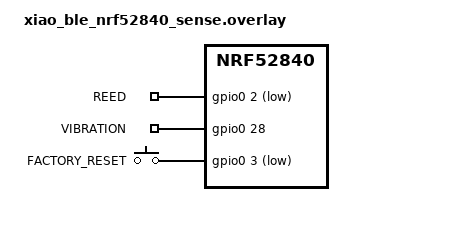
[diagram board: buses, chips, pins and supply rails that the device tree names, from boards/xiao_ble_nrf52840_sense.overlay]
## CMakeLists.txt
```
cmake_minimum_required(VERSION 3.20.0)
find_package(Zephyr REQUIRED HINTS $ENV{ZEPHYR_BASE})
project(glazia_sensor_nrf)

target_sources(app PRIVATE
    src/main.c
    src/sensors.c
    src/event_tx.c
    src/thread_join.c
    src/led_indicator.c
    src/factory_reset.c
)
```

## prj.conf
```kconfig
# === Networking ===
CONFIG_NETWORKING=y
CONFIG_NET_IPV6=y
CONFIG_NET_UDP=y
CONFIG_NET_SOCKETS=y
CONFIG_NET_SOCKETS_POSIX_NAMES=n
CONFIG_NET_IF_UNICAST_IPV6_ADDR_COUNT=3
CONFIG_NET_IF_MCAST_IPV6_ADDR_COUNT=4

# === OpenThread MTD (Minimal Thread Device — Sleepy End Device) ===
CONFIG_NET_L2_OPENTHREAD=y
CONFIG_OPENTHREAD_MTD=y
CONFIG_OPENTHREAD_MTD_SED=y
CONFIG_OPENTHREAD_THREAD_VERSION_1_3=y
CONFIG_OPENTHREAD_JOINER=y

# === GPIO ===
CONFIG_GPIO=y
CONFIG_GPIO_NRFX=y

# === USB CDC console (board DTS routes zephyr,console to usb_cdc_acm_uart) ===
CONFIG_USB_DEVICE_STACK=y
CONFIG_USB_CDC_ACM=y
CONFIG_UART_LINE_CTRL=y
CONFIG_USB_DEVICE_INITIALIZE_AT_BOOT=y

# === Logging ===
CONFIG_LOG=y
CONFIG_LOG_DEFAULT_LEVEL=3
CONFIG_UART_CONSOLE=y
CONFIG_SERIAL=y

# === System ===
CONFIG_HEAP_MEM_POOL_SIZE=4096
CONFIG_MAIN_STACK_SIZE=2048
CONFIG_SYSTEM_WORKQUEUE_STACK_SIZE=2048
```

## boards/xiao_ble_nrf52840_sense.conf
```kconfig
# Board-specific Kconfig overrides for XIAO BLE nRF52840 (glazia_sensor_nrf).
# BOARD_XIAO_BLE and CLOCK_CONTROL_NRF are auto-selected by the build system.
```

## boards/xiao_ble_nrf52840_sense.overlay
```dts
/ {
    sensor_inputs {
        compatible = "gpio-keys";

        /* sensor0 = reed switch: active-low, internal pull-up, any-edge */
        sensor_0: sensor_0 {
            gpios = <&gpio0 2 (GPIO_ACTIVE_LOW | GPIO_PULL_UP)>;
            label = "REED";
        };

        /* sensor1 = vibration sensor: no pull, rising-edge */
        sensor_1: sensor_1 {
            gpios = <&gpio0 28 GPIO_ACTIVE_HIGH>;
            label = "VIBRATION";
        };
    };

    /* Factory-reset push-button: wire between D1 (P0.03) and GND. Active-low, internal
     * pull-up (no external resistor). Held ~3 s at boot => wipe Thread credentials. */
    reset_button {
        compatible = "gpio-keys";
        reset_btn: reset_btn {
            gpios = <&gpio0 3 (GPIO_ACTIVE_LOW | GPIO_PULL_UP)>;
            label = "FACTORY_RESET";
        };
    };

    aliases {
        sensor0 = &sensor_0;
        sensor1 = &sensor_1;
        resetbtn = &reset_btn;
    };
};
```

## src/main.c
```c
#include <zephyr/kernel.h>
#include <zephyr/logging/log.h>
#include "sensors.h"
#include "event_tx.h"
#include "thread_join.h"
#include "led_indicator.h"
#include "factory_reset.h"

LOG_MODULE_REGISTER(glazia_sensor_nrf, LOG_LEVEL_INF);

int main(void)
{
    /* Before anything else: if the reset button is held at boot, wipe Thread credentials.
     * Runs before led_sensor_init() so it can drive the red LED without contention. */
    factory_reset_check();

    led_sensor_init();  /* 3× red blink at boot, starts LED task at JOINING */
    LOG_INF("glazia_sensor_nrf v1.0.0 starting");

    event_tx_init();
    sensors_init();
    thread_join_init();  /* derives PSKd from EUI64, initiates DTLS join */

    /* All activity is interrupt/callback driven */
    while (1) { k_sleep(K_FOREVER); }
    return 0;
}
```

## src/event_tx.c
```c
#include <stdio.h>
#include <string.h>
#include <zephyr/kernel.h>
#include <zephyr/logging/log.h>
#include <zephyr/net/openthread.h>
#include <openthread/udp.h>
#include <openthread/ip6.h>
#include <openthread/instance.h>
#include "event_tx.h"
#include "thread_join.h"
#include "led_indicator.h"

LOG_MODULE_REGISTER(glazia_sensor_nrf_tx, LOG_LEVEL_INF);

#define SENSOR_PORT    5683   /* sensor -> hub events            */
#define DOWNLINK_PORT  5684   /* hub -> sensor control commands  */
#define CACHE_MAX      10
#define PAYLOAD_MAX    32

static otUdpSocket s_sock;
static bool        s_initialized = false;

/* Offline cache — survives soft reset, flushed after Thread join */
static char s_cache[CACHE_MAX][PAYLOAD_MAX];
static int  s_cache_head  = 0;
static int  s_cache_tail  = 0;
static int  s_cache_count = 0;

static void cache_push(const char *evt)
{
    if (s_cache_count >= CACHE_MAX) {
        s_cache_head = (s_cache_head + 1) % CACHE_MAX;
        s_cache_count--;
    }
    strncpy(s_cache[s_cache_tail], evt, PAYLOAD_MAX - 1);
    s_cache[s_cache_tail][PAYLOAD_MAX - 1] = '\0';
    s_cache_tail = (s_cache_tail + 1) % CACHE_MAX;
    s_cache_count++;
}

/* Downlink from the hub. Currently one command: {"cmd":"leave","id":"<eui64>"} — if the id matches
 * our own EUI64, the hub deleted us, so factory-reset (erases Thread creds) and reboot. On reboot we
 * re-derive our PSKd and retry joining, but the commissioner allowlist no longer has us, so we stay
 * off until re-paired. */
static void udp_recv_cb(void *ctx, otMessage *msg, const otMessageInfo *info)
{
    char buf[64];
    uint16_t len = otMessageGetLength(msg) - otMessageGetOffset(msg);
    if (len == 0 || len >= sizeof(buf)) return;
    otMessageRead(msg, otMessageGetOffset(msg), buf, len);
    buf[len] = '\0';

    if (!strstr(buf, "\"cmd\":\"leave\"")) return;

    const char *p = strstr(buf, "\"id\":\"");
    if (!p) return;
    p += 6;
    if (strncmp(p, g_sensor_eui64_hex, 16) != 0) return;   /* not addressed to us */

    LOG_WRN("leave command received — factory resetting");
    struct openthread_context *ctx2 = openthread_get_default_context();
    otInstanceFactoryReset(ctx2->instance);   /* erases persistent info + reboots */
}

static bool do_send(const char *event_str)
{
    char json[64];
    snprintf(json, sizeof(json), "{\"id\":\"%s\",\"e\":\"%s\"}", g_sensor_eui64_hex, event_str);

    struct openthread_context *ctx = openthread_get_default_context();
    openthread_api_mutex_lock(ctx);
    otInstance *ot = ctx->instance;

    otMessage *msg = otUdpNewMessage(ot, NULL);
    if (!msg) { openthread_api_mutex_unlock(ctx); return false; }
    otMessageAppend(msg, json, strlen(json));

    otMessageInfo info = {0};
    /* ff03::1 — mesh-local all-nodes multicast */
    info.mPeerAddr.mFields.m8[0]  = 0xff;
    info.mPeerAddr.mFields.m8[1]  = 0x03;
    info.mPeerAddr.mFields.m8[15] = 0x01;
    info.mPeerPort    = SENSOR_PORT;
    info.mMulticastLoop = true;

    otError err = otUdpSend(ot, &s_sock, msg, &info);
    openthread_api_mutex_unlock(ctx);
    return (err == OT_ERROR_NONE);
}

void event_tx_init(void)
{
    struct openthread_context *ctx = openthread_get_default_context();
    openthread_api_mutex_lock(ctx);
    otUdpOpen(ctx->instance, &s_sock, udp_recv_cb, NULL);
    /* Bind to the downlink port so we receive the hub's ff03::1 "leave" multicast. Sends to the
     * hub's event port still work from this same socket. */
    otSockAddr bind_addr = {0};
    bind_addr.mPort = DOWNLINK_PORT;
    otUdpBind(ctx->instance, &s_sock, &bind_addr, OT_NETIF_THREAD);
    openthread_api_mutex_unlock(ctx);
    s_initialized = true;
}

void event_tx_send(const char *event_str)
{
    if (!g_thread_ready || !s_initialized) {
        cache_push(event_str);
        LOG_INF("cached '%s' (%d in cache)", event_str, s_cache_count);
        led_sensor_flash_cached();
        return;
    }
    if (do_send(event_str)) {
        LOG_INF("TX %s", event_str);
        led_sensor_flash_sent();
    } else {
        LOG_WRN("TX fail — cached '%s'", event_str);
        cache_push(event_str);
        led_sensor_flash_cached();
    }
}

void event_tx_flush_cache(void)
{
    while (s_cache_count > 0) {
        const char *evt = s_cache[s_cache_head];
        if (!do_send(evt)) break;
        s_cache_head = (s_cache_head + 1) % CACHE_MAX;
        s_cache_count--;
        k_sleep(K_MSEC(50));
    }
}
```

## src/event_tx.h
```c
#pragma once

void event_tx_init(void);
void event_tx_send(const char *event_str);  /* e.g. "door_open", "vibration" */
void event_tx_flush_cache(void);            /* called when Thread join succeeds */
```

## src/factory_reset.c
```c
#include <zephyr/kernel.h>
#include <zephyr/drivers/gpio.h>
#include <zephyr/logging/log.h>
#include <zephyr/net/openthread.h>
#include <openthread/instance.h>
#include "factory_reset.h"

LOG_MODULE_REGISTER(glazia_sensor_nrf_reset, LOG_LEVEL_INF);

#define HOLD_MS 3000   /* button must stay pressed this long to trigger a wipe */

/* Factory-reset button: D1 / P0.03, active-low + internal pull-up (see board overlay). */
static const struct gpio_dt_spec s_btn = GPIO_DT_SPEC_GET(DT_ALIAS(resetbtn), gpios);
/* Red LED (led0). Driven directly here because factory_reset_check() runs before the LED task
 * starts, so there is no contention for the pin. */
static const struct gpio_dt_spec s_red = GPIO_DT_SPEC_GET(DT_ALIAS(led0), gpios);

void factory_reset_check(void)
{
    if (!gpio_is_ready_dt(&s_btn)) {
        LOG_WRN("reset button GPIO not ready — skipping factory-reset check");
        return;
    }
    gpio_pin_configure_dt(&s_btn, GPIO_INPUT);

    /* Not pressed at boot -> return immediately, no boot delay. */
    if (gpio_pin_get_dt(&s_btn) == 0) return;

    LOG_WRN("reset button held — keep holding %d s to wipe Thread credentials", HOLD_MS / 1000);

    bool have_led = gpio_is_ready_dt(&s_red);
    if (have_led) {
        gpio_pin_configure_dt(&s_red, GPIO_OUTPUT_INACTIVE);
        gpio_pin_set_dt(&s_red, 1);   /* solid red while confirming the hold */
    }

    for (int held = 0; held < HOLD_MS; held += 100) {
        if (gpio_pin_get_dt(&s_btn) == 0) {   /* released early — abort */
            if (have_led) gpio_pin_set_dt(&s_red, 0);
            LOG_INF("reset button released before %d s — not wiping", HOLD_MS / 1000);
            return;
        }
        k_msleep(100);
    }

    LOG_WRN("factory reset — erasing credentials & rebooting");
    struct openthread_context *ctx = openthread_get_default_context();
    otInstanceFactoryReset(ctx->instance);   /* erases persistent settings + reboots; no return */
}
```

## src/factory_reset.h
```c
#pragma once

/* Debugger-free credential wipe. Called once, synchronously, at the very start of boot
 * (before led_sensor_init / thread_join_init). If the factory-reset button (D1 / P0.03,
 * active-low) is held ~3 s, erases the stored Thread dataset via otInstanceFactoryReset()
 * and reboots. Returns immediately (no boot delay) if the button is not pressed at boot. */
void factory_reset_check(void);
```

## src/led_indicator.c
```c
#include <zephyr/kernel.h>
#include <zephyr/drivers/gpio.h>
#include "led_indicator.h"

static const struct gpio_dt_spec s_red   = GPIO_DT_SPEC_GET(DT_ALIAS(led0), gpios);
static const struct gpio_dt_spec s_green = GPIO_DT_SPEC_GET(DT_ALIAS(led1), gpios);
static const struct gpio_dt_spec s_blue  = GPIO_DT_SPEC_GET(DT_ALIAS(led2), gpios);

static volatile led_sensor_state_t s_state = LED_SENSOR_JOINING;
static atomic_t s_flash = ATOMIC_INIT(0);

#define FLASH_SENT   1
#define FLASH_CACHED 2

static void all_off(void)
{
    gpio_pin_set_dt(&s_red,   0);
    gpio_pin_set_dt(&s_green, 0);
    gpio_pin_set_dt(&s_blue,  0);
}

static void do_flash(atomic_val_t type)
{
    all_off();
    if (type == FLASH_SENT) {
        gpio_pin_set_dt(&s_green, 1); k_msleep(100);
        gpio_pin_set_dt(&s_green, 0);
    } else {
        gpio_pin_set_dt(&s_red, 1); k_msleep(100);
        gpio_pin_set_dt(&s_red, 0);
    }
}

static K_THREAD_STACK_DEFINE(s_stack, 512);
static struct k_thread s_thread;

static void led_task(void *a, void *b, void *c)
{
    int tick = 0;

    while (1) {
        atomic_val_t flash = atomic_set(&s_flash, 0);
        if (flash) {
            do_flash(flash);
            tick = 0;
            continue;
        }

        switch (s_state) {
        case LED_SENSOR_JOINING:
            /* Blue 500 ms on/off: 10 ticks on, 10 ticks off at 50 ms/tick */
            gpio_pin_set_dt(&s_red,   0);
            gpio_pin_set_dt(&s_green, 0);
            gpio_pin_set_dt(&s_blue, (tick % 20) < 10 ? 1 : 0);
            break;
        case LED_SENSOR_READY:
            gpio_pin_set_dt(&s_red,  0);
            gpio_pin_set_dt(&s_blue, 0);
            gpio_pin_set_dt(&s_green, 1);
            break;
        }

        tick++;
        k_msleep(50);
    }
}

void led_sensor_init(void)
{
    if (!gpio_is_ready_dt(&s_red) ||
        !gpio_is_ready_dt(&s_green) ||
        !gpio_is_ready_dt(&s_blue)) {
        return;
    }

    gpio_pin_configure_dt(&s_red,   GPIO_OUTPUT_INACTIVE);
    gpio_pin_configure_dt(&s_green, GPIO_OUTPUT_INACTIVE);
    gpio_pin_configure_dt(&s_blue,  GPIO_OUTPUT_INACTIVE);

    /* Boot blink: 3× red = main() reached */
    for (int i = 0; i < 3; i++) {
        gpio_pin_set_dt(&s_red, 1); k_msleep(200);
        gpio_pin_set_dt(&s_red, 0); k_msleep(200);
    }

    k_thread_create(&s_thread, s_stack, K_THREAD_STACK_SIZEOF(s_stack),
                    led_task, NULL, NULL, NULL, 10, 0, K_NO_WAIT);
    k_thread_name_set(&s_thread, "led_sensor");
}

void led_sensor_set_state(led_sensor_state_t s) { s_state = s; }
void led_sensor_flash_sent(void)                { atomic_set(&s_flash, FLASH_SENT); }
void led_sensor_flash_cached(void)              { atomic_set(&s_flash, FLASH_CACHED); }
```

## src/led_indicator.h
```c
#pragma once

typedef enum {
    LED_SENSOR_JOINING,
    LED_SENSOR_READY,
} led_sensor_state_t;

void led_sensor_init(void);
void led_sensor_set_state(led_sensor_state_t s);
void led_sensor_flash_sent(void);   /* green 100 ms */
void led_sensor_flash_cached(void); /* red 100 ms */
```

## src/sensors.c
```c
#include <zephyr/kernel.h>
#include <zephyr/drivers/gpio.h>
#include <zephyr/logging/log.h>
#include "sensors.h"
#include "event_tx.h"

LOG_MODULE_REGISTER(glazia_sensor_nrf_sensors, LOG_LEVEL_INF);

#define DEBOUNCE_MS     50
#define VIB_COOLDOWN_MS 2000

/* DTS aliases from xiao_ble.overlay: sensor0=reed, sensor1=vibration */
static const struct gpio_dt_spec s_reed = GPIO_DT_SPEC_GET(DT_ALIAS(sensor0), gpios);
static const struct gpio_dt_spec s_vib  = GPIO_DT_SPEC_GET(DT_ALIAS(sensor1), gpios);

static struct gpio_callback s_reed_cb;
static struct gpio_callback s_vib_cb;

static K_SEM_DEFINE(s_reed_sem, 0, 8);
static K_SEM_DEFINE(s_vib_sem,  0, 8);

static void reed_isr(const struct device *dev, struct gpio_callback *cb, uint32_t pins)
{
    k_sem_give(&s_reed_sem);
}

static void vib_isr(const struct device *dev, struct gpio_callback *cb, uint32_t pins)
{
    k_sem_give(&s_vib_sem);
}

/* ── Reed task ───────────────────────────────────────────────────────────── */
static K_THREAD_STACK_DEFINE(s_reed_stack, 1024);
static struct k_thread s_reed_thread;

static void reed_task(void *a, void *b, void *c)
{
    int last = gpio_pin_get_dt(&s_reed);

    while (1) {
        k_sem_take(&s_reed_sem, K_FOREVER);
        k_sleep(K_MSEC(DEBOUNCE_MS));
        int lvl = gpio_pin_get_dt(&s_reed);
        if (lvl == last) continue;
        last = lvl;
        /* active-low: 0 = magnet present = door closed */
        const char *evt = lvl == 0 ? "door_close" : "door_open";
        LOG_INF("%s", evt);
        event_tx_send(evt);
    }
}

/* ── Vibration task ──────────────────────────────────────────────────────── */
static K_THREAD_STACK_DEFINE(s_vib_stack, 1024);
static struct k_thread s_vib_thread;

static void vib_task(void *a, void *b, void *c)
{
    while (1) {
        k_sem_take(&s_vib_sem, K_FOREVER);
        LOG_INF("vibration");
        event_tx_send("vibration");

        /* drain ISR noise during cooldown */
        k_timepoint_t deadline = sys_timepoint_calc(K_MSEC(VIB_COOLDOWN_MS));
        while (!sys_timepoint_expired(deadline))
            k_sem_take(&s_vib_sem, K_MSEC(50));
    }
}

void sensors_init(void)
{
    if (device_is_ready(s_reed.port)) {
        gpio_pin_configure_dt(&s_reed, GPIO_INPUT);
        gpio_pin_interrupt_configure_dt(&s_reed, GPIO_INT_EDGE_BOTH);
        gpio_init_callback(&s_reed_cb, reed_isr, BIT(s_reed.pin));
        gpio_add_callback(s_reed.port, &s_reed_cb);
        LOG_INF("reed on GPIO%d", s_reed.pin);
    } else {
        LOG_ERR("reed GPIO not ready");
    }

    if (device_is_ready(s_vib.port)) {
        gpio_pin_configure_dt(&s_vib, GPIO_INPUT);
        gpio_pin_interrupt_configure_dt(&s_vib, GPIO_INT_EDGE_RISING);
        gpio_init_callback(&s_vib_cb, vib_isr, BIT(s_vib.pin));
        gpio_add_callback(s_vib.port, &s_vib_cb);
        LOG_INF("vibration on GPIO%d", s_vib.pin);
    } else {
        LOG_ERR("vibration GPIO not ready");
    }

    k_thread_create(&s_reed_thread, s_reed_stack, K_THREAD_STACK_SIZEOF(s_reed_stack),
                    reed_task, NULL, NULL, NULL, 5, 0, K_NO_WAIT);
    k_thread_name_set(&s_reed_thread, "reed");

    k_thread_create(&s_vib_thread, s_vib_stack, K_THREAD_STACK_SIZEOF(s_vib_stack),
                    vib_task, NULL, NULL, NULL, 5, 0, K_NO_WAIT);
    k_thread_name_set(&s_vib_thread, "vib");
}
```

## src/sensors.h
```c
#pragma once

void sensors_init(void);
```

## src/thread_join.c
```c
#include <stdio.h>
#include <string.h>
#include <zephyr/kernel.h>
#include <zephyr/logging/log.h>
#include <zephyr/net/openthread.h>
#include <openthread/thread.h>
#include <openthread/joiner.h>
#include <openthread/link.h>
#include <openthread/ip6.h>
#include <openthread/dataset.h>
#include "thread_join.h"
#include "event_tx.h"
#include "led_indicator.h"

LOG_MODULE_REGISTER(glazia_sensor_nrf_join, LOG_LEVEL_INF);

/* Joiner retry backoff. First-time pairing, the sensor starts the Joiner at boot — almost always
 * BEFORE the hub's commissioner window is open (the hub only commissions after the phone provisions
 * the sensor on the server). So the first attempt fails and we retry. A flat 30 s retry meant the
 * sensor sat idle for a whole cycle even though the commissioner opened seconds later — the ~28 s
 * first-pairing delay. Instead retry quickly, then back off (2→4→8… capped) so we catch the
 * commissioner within a few seconds while a sensor with no hub in range still settles to a low,
 * battery-friendly scan rate. */
#define RETRY_MIN_S     2
#define RETRY_MAX_S     15
/* Parent evicts us (fires CHILD_REMOVED at the hub) after this many s of missed 1 s data-polls —
 * i.e. the hub's dead-sensor detection latency. Test value 10 s (10 missed polls); widen later. */
#define CHILD_TIMEOUT_S 10

volatile bool g_thread_ready = false;
char g_sensor_eui64_hex[17] = {0};

static char  s_pskd[9];
static K_SEM_DEFINE(s_join_done, 0, 1);
static otError s_join_result;

static void derive_pskd(otInstance *ot)
{
    otExtAddress eui64;
    otLinkGetFactoryAssignedIeeeEui64(ot, &eui64);
    /* PSKd = last 4 bytes of EUI64 as uppercase hex — e.g. "AABBCCDD" */
    snprintf(s_pskd, sizeof(s_pskd), "%02X%02X%02X%02X",
             eui64.m8[4], eui64.m8[5], eui64.m8[6], eui64.m8[7]);
    /* Full EUI64 as lowercase hex — sent in every event so the hub identifies us by real EUI64 */
    for (int i = 0; i < 8; i++)
        snprintf(g_sensor_eui64_hex + i * 2, 3, "%02x", eui64.m8[i]);
    LOG_INF("EUI64 %02x%02x%02x%02x%02x%02x%02x%02x  PSKd=%s",
            eui64.m8[0], eui64.m8[1], eui64.m8[2], eui64.m8[3],
            eui64.m8[4], eui64.m8[5], eui64.m8[6], eui64.m8[7], s_pskd);
}

static void joiner_cb(otError result, void *ctx)
{
    s_join_result = result;
    k_sem_give(&s_join_done);
}

static K_THREAD_STACK_DEFINE(s_stack, 4096);
static struct k_thread s_thread;

/* True if a usable Thread dataset (network key present) is already stored in flash. The nRF
 * settings backend (CONFIG_SETTINGS_NVS) persists the dataset across reboots / battery swaps,
 * so a previously-commissioned sensor can re-attach without the hub reopening its commissioner. */
static bool has_stored_credentials(otInstance *ot)
{
    otOperationalDataset ds;
    if (otDatasetGetActive(ot, &ds) != OT_ERROR_NONE) return false;
    return ds.mComponents.mIsNetworkKeyPresent;
}

/* Re-attach path: no Joiner/commissioner needed. Enable Thread from the stored dataset and wait
 * for MLE to (re)attach us as a child. OpenThread retries attach on its own if the hub is not yet
 * in range, so a late-booting sensor simply attaches whenever the hub becomes reachable. */
static void attach_from_stored(struct openthread_context *ctx)
{
    openthread_api_mutex_lock(ctx);
    otInstance *ot = ctx->instance;
    otLinkSetPollPeriod(ot, 1000);          /* 1 s SED poll for responsive alerts + downlink */
    otThreadSetChildTimeout(ot, CHILD_TIMEOUT_S);
    otIp6SetEnabled(ot, true);
    otThreadSetEnabled(ot, true);
    openthread_api_mutex_unlock(ctx);

    while (1) {
        openthread_api_mutex_lock(ctx);
        otDeviceRole role = otThreadGetDeviceRole(ctx->instance);
        openthread_api_mutex_unlock(ctx);
        if (role == OT_DEVICE_ROLE_CHILD || role == OT_DEVICE_ROLE_ROUTER ||
            role == OT_DEVICE_ROLE_LEADER) {
            break;
        }
        k_sleep(K_SECONDS(2));
    }
}

/* First-pairing path: run the Joiner until it succeeds. Requires the hub's commissioner window
 * to be open (Add Sensor). On success the dataset is persisted for subsequent boots. */
static void run_joiner(struct openthread_context *ctx)
{
    int retry_s = RETRY_MIN_S;   /* grows 2→4→8… capped at RETRY_MAX_S on each failed attempt */

    while (1) {
        openthread_api_mutex_lock(ctx);
        otInstance *ot = ctx->instance;
        otIp6SetEnabled(ot, true);
        otError start_err = otJoinerStart(ot, s_pskd, NULL,
                                          "glazia", NULL, "1.0.0", NULL,
                                          joiner_cb, NULL);
        openthread_api_mutex_unlock(ctx);

        if (start_err != OT_ERROR_NONE) {
            LOG_ERR("otJoinerStart error %d — retry in %ds", start_err, retry_s);
            k_sleep(K_SECONDS(retry_s));
            retry_s = MIN(retry_s * 2, RETRY_MAX_S);
            continue;
        }

        k_sem_take(&s_join_done, K_FOREVER);

        if (s_join_result == OT_ERROR_NONE) {
            LOG_INF("Thread join succeeded");
            openthread_api_mutex_lock(ctx);
            ot = ctx->instance;
            otLinkSetPollPeriod(ot, 1000);   /* 1 s SED poll for responsive alerts */
            otThreadSetChildTimeout(ot, CHILD_TIMEOUT_S);
            otThreadSetEnabled(ot, true);
            openthread_api_mutex_unlock(ctx);
            return;
        }

        LOG_WRN("Join failed (%d) — retry in %ds", s_join_result, retry_s);
        k_sleep(K_SECONDS(retry_s));
        retry_s = MIN(retry_s * 2, RETRY_MAX_S);
    }
}

static void joiner_task(void *a, void *b, void *c)
{
    struct openthread_context *ctx = openthread_get_default_context();

    /* Derive identity once: g_sensor_eui64_hex for event headers, s_pskd for the join path. */
    openthread_api_mutex_lock(ctx);
    derive_pskd(ctx->instance);
    bool has_creds = has_stored_credentials(ctx->instance);
    openthread_api_mutex_unlock(ctx);

    if (has_creds) {
        LOG_INF("re-attaching from stored credentials (no commissioner needed)");
        attach_from_stored(ctx);
    } else {
        LOG_INF("no stored credentials — joining via commissioner");
        run_joiner(ctx);
    }

    g_thread_ready = true;
    led_sensor_set_state(LED_SENSOR_READY);
    event_tx_flush_cache();
}

void thread_join_init(void)
{
    k_thread_create(&s_thread, s_stack, K_THREAD_STACK_SIZEOF(s_stack),
                    joiner_task, NULL, NULL, NULL, 5, 0, K_NO_WAIT);
    k_thread_name_set(&s_thread, "joiner");
    LOG_INF("joiner task started");
}
```

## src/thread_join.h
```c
#pragma once
#include <stdbool.h>

extern volatile bool g_thread_ready;

/* Factory EUI64 as lowercase hex (e.g. "f4ce36acb7bb1907"), populated at join. Sent in every
 * event payload so the hub can identify the sensor by its real EUI64 (Thread mesh-local
 * addresses are randomized and can't be reversed to the EUI64). */
extern char g_sensor_eui64_hex[17];

void thread_join_init(void);   /* derives PSKd from EUI64, starts joiner task */
```
